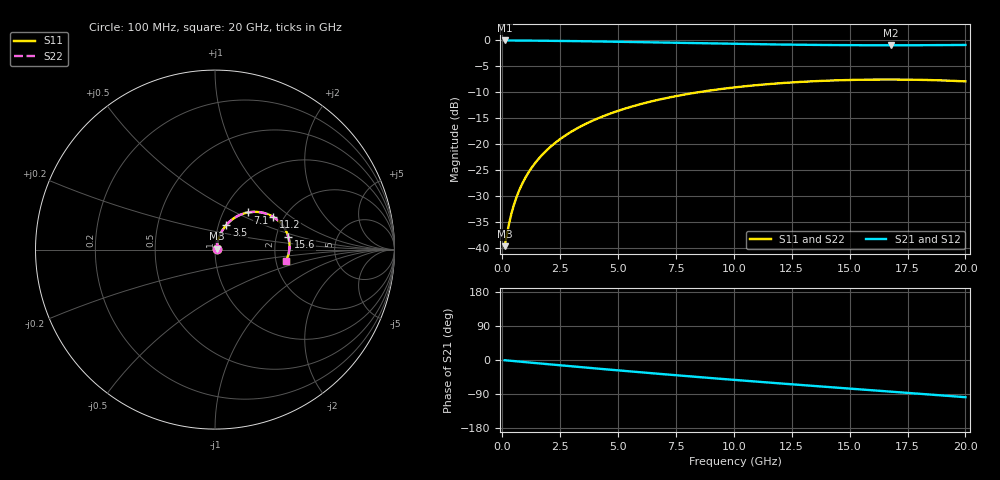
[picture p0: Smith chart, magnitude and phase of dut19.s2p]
! Touchstone file exported from HFSS 2026.1.0
!  File:  C:/ffzhzh/LocalFiles/Ansys_Project_Files/temp_val_TSV_RDL_19_1782977492_45308.aedt
!  Generated:  03:41:35 PM Jul  2, 2026
!  Design:  TSV_RDL
!  Project:  temp_val_TSV_RDL_19_1782977492_45308
! Variables:
!  h_bsmrdl = 4.91um
!  h_ox = 20um
!  h_rdl = 5um
!  h_sub = 87.44um
!  h_tmrdl = 2.15um
!  h_tsv = 87.44um
!  h_via = 3um
!  l_bsmrdl = 130.3um
!  l_sub = 1456.19um
!  l_tmrdl = 138.46um
!  m_sub = 200um
!  pitch = 42.76um
!  r_tsv = 7.77um
!  s_tmrdl = 10um
!  w_bsmrdl = 20.7um
!  w_sub = 500um
!  w_tmrdl = 16.45um
!  x_tsv_center1 = 146.685um
!  x_tsv_center2 = 297.685um
!  x_tsv_center3 = 452.595um
!  x_tsv_center4 = 603.595um
!  x_tsv_center5 = 758.505um
!  x_tsv_center6 = 909.505um
# GHz S MA R 50.000000
! Terminal data exported
! Port[1] = TM_RDL1_1_T1
! Port[2] = TM_RDL5_1_T1
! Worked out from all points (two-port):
!   200 points, 100 MHz to 20 GHz, reference 50 ohm
!   highest |S21| = -0.08 dB at 100 MHz (marker M1); lowest = -1.0 dB at 16.8 GHz (marker M2)
!   |S21| within 3 dB of the highest: start of sweep to end of sweep
!   lowest |S11| = -39.7 dB at 100 MHz (marker M3), VSWR 1.02, Z = 50.9 + j0.49 ohm
!   |S11| at or under -10 dB: start of sweep to 8.552 GHz
!   |S22| runs from -39.7 to -7.6 dB; largest |S21 - S12| = 2.1e-14
!   S11 on the Smith chart (normalised r, x): 100 MHz: 1.02, +0.01; 3.5 GHz: 1.09, +0.31; 7.1 GHz: 1.30, +0.58; 11.2 GHz: 1.76, +0.74; 15.6 GHz: 2.33, +0.40; 20 GHz: 2.26, -0.35
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0.1  0.01032 27.8  0.9909 -0.6  0.9909 -0.6  0.01032 27.8
! Gamma 0 0 0 0
! Port Impedance 50 0 50 0
0.3  0.01733 54.9  0.9904 -1.7  0.9904 -1.7  0.01733 54.9
0.4  0.02149 60.6  0.99 -2.3  0.99 -2.3  0.02149 60.6
0.6  0.03002 66.5  0.9893 -3.4  0.9893 -3.4  0.03002 66.5
0.9  0.04293 70.2  0.9882 -5.1  0.9882 -5.1  0.04293 70.2
1.2  0.05589 71.5  0.9871 -6.8  0.9871 -6.8  0.05589 71.5
1.7  0.07739 71.5  0.985 -9.6  0.985 -9.6  0.07739 71.5
2.2  0.09861 70.3  0.9825 -12.3  0.9825 -12.3  0.09861 70.3
2.8  0.1235 68.2  0.979 -15.6  0.979 -15.6  0.1235 68.2
3.5  0.1516 65.3  0.9743 -19.4  0.9743 -19.4  0.1516 65.3
4.2  0.1786 62.1  0.9691 -23.1  0.9691 -23.1  0.1786 62.1
5  0.208 58.4  0.9626 -27.4  0.9626 -27.4  0.208 58.4
6.8  0.2675 49.8  0.9469 -36.7  0.9469 -36.7  0.2675 49.8
7.1  0.2766 48.4  0.9442 -38.2  0.9442 -38.2  0.2766 48.4
8.5  0.3149 41.8  0.9317 -45.2  0.9317 -45.2  0.3149 41.8
10.1  0.3512 34.4  0.9185 -52.9  0.9185 -52.9  0.3512 34.4
11.2  0.3714 29.4  0.9104 -58.1  0.9104 -58.1  0.3714 29.4
13.4  0.4005 19.6  0.8979 -68.2  0.8979 -68.2  0.4005 19.6
15.6  0.4148 9.9  0.8913 -78.2  0.8913 -78.2  0.4148 9.9
16.7  0.4165 5.1  0.8904 -83.1  0.8904 -83.1  0.4165 5.1
16.8  0.4165 4.7  0.8904 -83.6  0.8904 -83.6  0.4165 4.7
20  0.3996 -9.3  0.897 -98.1  0.897 -98.1  0.3997 -9.3
